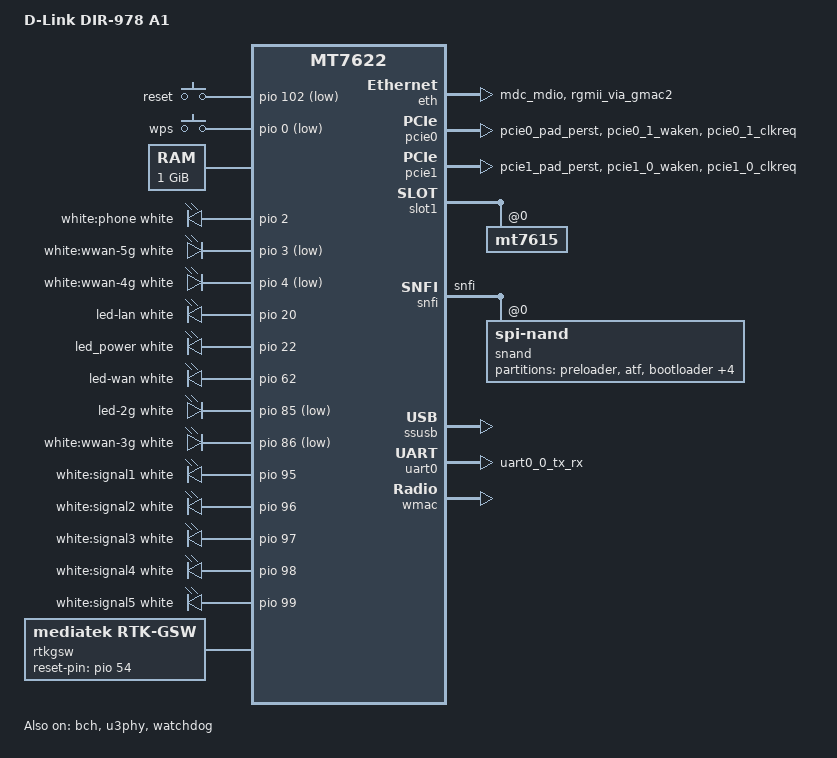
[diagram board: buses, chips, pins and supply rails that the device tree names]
// SPDX-License-Identifier: GPL-2.0-or-later OR MIT

/dts-v1/;
#include "mt7622.dtsi"
#include "mt6380.dtsi"
#include <dt-bindings/gpio/gpio.h>
#include <dt-bindings/input/input.h>
#include <dt-bindings/leds/common.h>

/ {
	model = "D-Link DIR-978 A1";
	compatible = "dlink,dwr-978-a1", "mediatek,mt7622";

	aliases {
		led-boot = &led_power;
		led-failsafe = &led_power;
		led-running = &led_power;
		led-upgrade = &led_power;
		serial0 = &uart0;
		label-mac-device = &gmac0;
	};

	chosen {
		stdout-path = "serial0:115200n8";
		bootargs = "earlycon=uart8250,mmio32,0x11002000 console=ttyS0,115200n8 swiotlb=512";
	};

	cpus {
		cpu@0 {
			proc-supply = <&mt6380_vcpu_reg>;
			sram-supply = <&mt6380_vm_reg>;
		};

		cpu@1 {
			proc-supply = <&mt6380_vcpu_reg>;
			sram-supply = <&mt6380_vm_reg>;
		};
	};

	gpio-keys {
		compatible = "gpio-keys";

		button-reset {
			gpios = <&pio 102 GPIO_ACTIVE_LOW>;
			label = "reset";
			linux,code = <KEY_RESTART>;
		};

		button-wps {
			gpios = <&pio 0 GPIO_ACTIVE_LOW>;
			label = "wps";
			linux,code = <KEY_WPS_BUTTON>;
		};

		/* no idea what could be the source, but it's defined in OEM firmware */
/*
		pwr_saving {
			gpios = <&pio 18 GPIO_ACTIVE_LOW>;
			label = "pwr_saving";
		};
*/
	};

	memory {
		reg = <0 0x40000000 0 0x40000000>;
	};

	leds {
		compatible = "gpio-leds";

		led-phone {
			label = "white:phone";
			color = <LED_COLOR_ID_WHITE>;
			gpios = <&pio 2 GPIO_ACTIVE_HIGH>;
		};

		led-wwan-5g {
			label = "white:wwan-5g";
			color = <LED_COLOR_ID_WHITE>;
			gpios = <&pio 3 GPIO_ACTIVE_LOW>;
		};

		led-wwan-4g {
			label = "white:wwan-4g";
			color = <LED_COLOR_ID_WHITE>;
			gpios = <&pio 4 GPIO_ACTIVE_LOW>;
		};

		led-lan {
			color = <LED_COLOR_ID_WHITE>;
			function = LED_FUNCTION_LAN;
			gpios = <&pio 20 GPIO_ACTIVE_HIGH>;
		};

		led_power: led-power {
			color = <LED_COLOR_ID_WHITE>;
			function = LED_FUNCTION_POWER;
			gpios = <&pio 22 GPIO_ACTIVE_HIGH>;
		};

		led-wan {
			color = <LED_COLOR_ID_WHITE>;
			function = LED_FUNCTION_WAN;
			gpios = <&pio 62 GPIO_ACTIVE_HIGH>;
		};

		led-2g {
			color = <LED_COLOR_ID_WHITE>;
			function = LED_FUNCTION_WLAN;
			gpios = <&pio 85 GPIO_ACTIVE_LOW>;
		};

		led-wwan-3g {
			label = "white:wwan-3g";
			color = <LED_COLOR_ID_WHITE>;
			gpios = <&pio 86 GPIO_ACTIVE_LOW>;
		};

		/* no idea what this does, there is no unpopulated LED on the board, maybe used for modem control? */
/*
		led-5g {
			label = "white:5g";
			color = <LED_COLOR_ID_WHITE>;
			gpios = <&pio 90 GPIO_ACTIVE_LOW>;
		};
*/

		led-signal-1 {
			label = "white:signal1";
			color = <LED_COLOR_ID_WHITE>;
			gpios = <&pio 95 GPIO_ACTIVE_HIGH>;
		};

		led-signal-2 {
			label = "white:signal2";
			color = <LED_COLOR_ID_WHITE>;
			gpios = <&pio 96 GPIO_ACTIVE_HIGH>;
		};

		led-signal-3 {
			label = "white:signal3";
			color = <LED_COLOR_ID_WHITE>;
			gpios = <&pio 97 GPIO_ACTIVE_HIGH>;
		};

		led-signal-4 {
			label = "white:signal4";
			color = <LED_COLOR_ID_WHITE>;
			gpios = <&pio 98 GPIO_ACTIVE_HIGH>;
		};

		led-signal-5 {
			label = "white:signal5";
			color = <LED_COLOR_ID_WHITE>;
			gpios = <&pio 99 GPIO_ACTIVE_HIGH>;
		};
	};

	rtkgsw: rtkgsw@0 {
		compatible = "mediatek,rtk-gsw";
		mediatek,ethsys = <&ethsys>;
		mediatek,mdio = <&mdio>;
		mediatek,reset-pin = <&pio 54 0>;
		status = "okay";
	};
};

&bch {
	status = "okay";
};

&eth {
	pinctrl-names = "default";
	pinctrl-0 = <&eth_pins>;
	status = "okay";

	gmac0: mac@0 {
		compatible = "mediatek,eth-mac";
		reg = <0>;

		phy-connection-type = "2500base-x";
/*
		nvmem-cells = <&macaddr_factory_4 (-1)>;
		nvmem-cell-names = "mac-address";
*/
		fixed-link {
			speed = <2500>;
			full-duplex;
			pause;
		};
	};
/*
	gmac1: mac@1 {
		compatible = "mediatek,eth-mac";
		phy-mode = "rgmii";
		reg = <1>;

		fixed-link {
			speed = <1000>;
			full-duplex;
			pause;
		};
	};
*/
	mdio: mdio-bus {
		#address-cells = <1>;
		#size-cells = <0>;
	};
};

&pcie0 {
	pinctrl-names = "default";
	pinctrl-0 = <&pcie0_pins>;
	status = "okay";
};

&pcie1 {
	pinctrl-names = "default";
	pinctrl-0 = <&pcie1_pins>;
	status = "okay";
};

&pio {
	eth_pins: eth-pins {
		mux {
			function = "eth";
			groups = "mdc_mdio", "rgmii_via_gmac2";
		};
	};

	pcie0_pins: pcie0-pins {
		mux {
			function = "pcie";
			groups = "pcie0_pad_perst",
				 "pcie0_1_waken",
				 "pcie0_1_clkreq";
		};
	};

	pcie1_pins: pcie1-pins {
		mux {
			function = "pcie";
			groups = "pcie1_pad_perst",
				 "pcie1_0_waken",
				 "pcie1_0_clkreq";
		};
	};

	pmic_bus_pins: pmic-bus-pins {
		mux {
			function = "pmic";
			groups = "pmic_bus";
		};
	};

	/* Serial NAND is shared pin with SPI-NOR */
	serial_nand_pins: serial-nand-pins {
		mux {
			function = "flash";
			groups = "snfi";
		};
	};

	uart0_pins: uart0-pins {
		mux {
			function = "uart";
			groups = "uart0_0_tx_rx";
		};
	};

	watchdog_pins: watchdog-pins {
		mux {
			function = "watchdog";
			groups = "watchdog";
		};
	};
};

&pwrap {
	pinctrl-names = "default";
	pinctrl-0 = <&pmic_bus_pins>;
	status = "okay";
};

&rtc {
	status = "disabled";
};

&sata {
	status = "disabled";
};

&sata_phy {
	status = "disabled";
};

&slot1 {
	mt7615@0,0 {
		reg = <0x0000 0 0 0 0>;
		ieee80211-freq-limit = <5000000 6000000>;
		mediatek,mtd-eeprom = <&factory 0x05000>;
	};
};

&snfi {
	pinctrl-names = "default";
	pinctrl-0 = <&serial_nand_pins>;
	status = "okay";

	snand: flash@0 {
		compatible = "spi-nand";
		mediatek,bmt-table-size = <0x1000>;
		mediatek,bmt-v2;
		nand-ecc-engine = <&snfi>;
		reg = <0>;
		spi-rx-bus-width = <4>;
		spi-tx-bus-width = <4>;

		partitions {
			compatible = "fixed-partitions";
			#address-cells = <1>;
			#size-cells = <1>;

			partition@0 {
				label = "preloader";
				reg = <0x00000000 0x00080000>;
				read-only;
			};

			partition@80000 {
				label = "atf";
				reg = <0x00080000 0x00040000>;
				read-only;
			};

			partition@C0000 {
				label = "bootloader";
				reg = <0x000C0000 0x00080000>;
				read-only;
			};

			partition@140000 {
				label = "config";
				reg = <0x00140000 0x00080000>;
				read-only;
			};

			factory: partition@1c0000 {
				label = "factory";
				reg = <0x1c0000 0x40000>;
				read-only;
			};

			partition@200000 {
				label = "firmware";
				reg = <0x200000 0x2000000>;
				compatible = "denx,fit";
			};

			partition@2200000 {
				label = "user_data";
				reg = <0x2200000 0x4000000>;
				read-only;
			};
		};
	};
};

&ssusb {
	status = "ok";
};

&u3phy {
	status = "ok";
};

&uart0 {
	pinctrl-names = "default";
	pinctrl-0 = <&uart0_pins>;
	status = "okay";
};

&watchdog {
	pinctrl-names = "default";
	pinctrl-0 = <&watchdog_pins>;
	status = "okay";
};

&wmac {
	mediatek,mtd-eeprom = <&factory 0x0000>;
	status = "okay";
};
